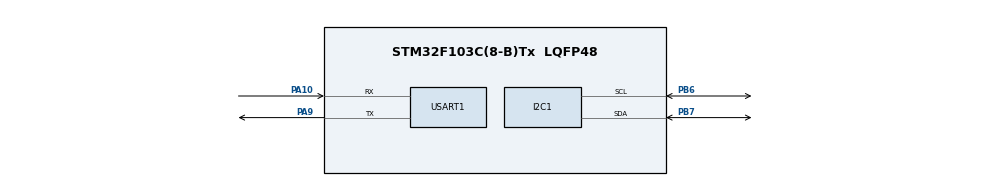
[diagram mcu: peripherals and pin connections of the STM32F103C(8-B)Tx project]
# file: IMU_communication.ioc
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Mcu.Family=STM32F1
Mcu.Name=STM32F103C(8-B)Tx
Mcu.Package=LQFP48
NVIC.PriorityGroup=NVIC_PRIORITYGROUP_4
PA10.Mode=Asynchronous
PA10.Signal=USART1_RX
PA13.Mode=Serial_Wire
PA13.Signal=SYS_JTMS-SWDIO
PA14.Mode=Serial_Wire
PA14.Signal=SYS_JTCK-SWCLK
PA9.Mode=Asynchronous
PA9.Signal=USART1_TX
PB6.Mode=I2C
PB6.Signal=I2C1_SCL
PB7.Mode=I2C
PB7.Signal=I2C1_SDA
ProjectManager.HeapSize=0x200
ProjectManager.StackSize=0x400
ProjectManager.TargetToolchain=STM32CubeIDE
RCC.APB1Freq_Value=8000000
RCC.APB2Freq_Value=8000000
USART1.VirtualMode=VM_ASYNC
board=custom

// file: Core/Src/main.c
/* USER CODE BEGIN Header */
/**
  ******************************************************************************
  * @file           : main.c
  * @brief          : Main program body
  ******************************************************************************
  * @attention
  *
  * Copyright (c) 2026 STMicroelectronics.
  * All rights reserved.
  *
  * This software is licensed under terms that can be found in the LICENSE file
  * in the root directory of this software component.
  * If no LICENSE file comes with this software, it is provided AS-IS.
  *
  ******************************************************************************
  */
/* USER CODE END Header */
#include "main.h"

/* USER CODE BEGIN Includes */
#include <stdint.h>
#include <math.h>
#include <string.h>
/* USER CODE END Includes */

/* USER CODE BEGIN PD */
#define mpu_address 0x68<<1

// Address of config registers
#define Sample_rate 25
#define Config      26
#define Gyro_config 27
#define Acc_config  28
#define Interrupt   56
#define PWR_Management 107

// Address of data registers
#define Acc_X 59
#define Acc_Y 61
#define Acc_Z 63
#define Gyro_Y 69
/* USER CODE END PD */

I2C_HandleTypeDef hi2c1;

UART_HandleTypeDef huart1;

/* USER CODE BEGIN PV */
float roll, pitch;
char buffer[50];
/* USER CODE END PV */

void SystemClock_Config(void);
static void MX_GPIO_Init(void);
static void MX_I2C1_Init(void);
static void MX_USART1_UART_Init(void);

/* USER CODE BEGIN 0 */
void i2c_write(uint8_t reg, uint8_t value)
{
	uint8_t data[2];
	data[0] = reg;
	data[1] = value;
	HAL_I2C_Master_Transmit(&hi2c1, mpu_address,data,2,10);
}

int16_t i2c_read(uint8_t reg, uint8_t byte_read)
{
	uint8_t high,low;
	int16_t data;
	HAL_I2C_Mem_Read(&hi2c1,mpu_address,reg,1,&high,byte_read,100);
	HAL_I2C_Mem_Read(&hi2c1,mpu_address,reg+1,1,&low,byte_read,100);
	data = (int16_t) (high<<8) | low;
	return data;
}

void Init_6050 (void)
{
	//sample_rate 500Hz
	i2c_write(Sample_rate,15);
	// Không s? d?ng ngu?n xung ngoài, t?t DLFP
	i2c_write(Config,0);
	//gyro FS: +- 500 o/s
	i2c_write(Gyro_config,0x08);
	// acc FS: +-8g
	i2c_write(Acc_config,0x10);
	//turn on Interrupt c?a data ready
	i2c_write(Interrupt,1);
	//choose pulse source Gyro X
	i2c_write(PWR_Management,0x01);
}

void send_char(char data)
{
	while((USART1->SR&(1<<6))==0);
	USART1->DR = data;
}
void send_string(char *str)
{
	while (*str) send_char(*str++);
}
/* USER CODE END 0 */

int main(void)
{

  /* MCU Configuration--------------------------------------------------------*/

  /* Reset of all peripherals, Initializes the Flash interface and the Systick. */
  HAL_Init();

  /* Configure the system clock */
  SystemClock_Config();

  /* Initialize all configured peripherals */
  MX_GPIO_Init();
  MX_I2C1_Init();
  MX_USART1_UART_Init();
  /* USER CODE BEGIN 2 */
  HAL_Delay(500);
  Init_6050();
  HAL_Delay(500);
  /* USER CODE END 2 */

  /* Infinite loop */
  /* USER CODE BEGIN WHILE */
  while (1)
  {
	  float Ax = (float)i2c_read(Acc_X,1)/4096.0; //(4096 là d? nh?y tuong ?ng: coi datasheet)
    float Ay = (float)i2c_read(Acc_Y,1)/4096.0; //(4096 là d? nh?y tuong ?ng: coi datasheet)
    float Az = (float)i2c_read(Acc_Z,1)/4096.0; //(4096 là d? nh?y tuong ?ng: coi datasheet)

    // Tinh toan roll, pitch
    roll = atan2(Ay,sqrt(pow(Ax,2)+pow(Az,2)))*180/3.14;
    pitch = atan2(Ax,sqrt(pow(Ay,2)+pow(Az,2)))*180/3.14; // hàm pow là hàm mu; M_PI là pi (t?t c? trong thu vi?n math.h)
    /* USER CODE END WHILE */

    /* USER CODE BEGIN 3 */
    sprintf(buffer, "Roll:%.2f;Pitch:%.2f\r\n", roll,pitch);
    send_string(buffer);
    HAL_Delay(200);

  }
  /* USER CODE END 3 */
}

void SystemClock_Config(void)
{
  RCC_OscInitTypeDef RCC_OscInitStruct = {0};
  RCC_ClkInitTypeDef RCC_ClkInitStruct = {0};

  /** Initializes the RCC Oscillators according to the specified parameters
  * in the RCC_OscInitTypeDef structure.
  */
  RCC_OscInitStruct.OscillatorType = RCC_OSCILLATORTYPE_HSI;
  RCC_OscInitStruct.HSIState = RCC_HSI_ON;
  RCC_OscInitStruct.HSICalibrationValue = RCC_HSICALIBRATION_DEFAULT;
  RCC_OscInitStruct.PLL.PLLState = RCC_PLL_NONE;
  if (HAL_RCC_OscConfig(&RCC_OscInitStruct) != HAL_OK)
  {
    Error_Handler();
  }

  /** Initializes the CPU, AHB and APB buses clocks
  */
  RCC_ClkInitStruct.ClockType = RCC_CLOCKTYPE_HCLK|RCC_CLOCKTYPE_SYSCLK
                              |RCC_CLOCKTYPE_PCLK1|RCC_CLOCKTYPE_PCLK2;
  RCC_ClkInitStruct.SYSCLKSource = RCC_SYSCLKSOURCE_HSI;
  RCC_ClkInitStruct.AHBCLKDivider = RCC_SYSCLK_DIV1;
  RCC_ClkInitStruct.APB1CLKDivider = RCC_HCLK_DIV1;
  RCC_ClkInitStruct.APB2CLKDivider = RCC_HCLK_DIV1;

  if (HAL_RCC_ClockConfig(&RCC_ClkInitStruct, FLASH_LATENCY_0) != HAL_OK)
  {
    Error_Handler();
  }
}

static void MX_I2C1_Init(void)
{

  hi2c1.Instance = I2C1;
  hi2c1.Init.ClockSpeed = 100000;
  hi2c1.Init.DutyCycle = I2C_DUTYCYCLE_2;
  hi2c1.Init.OwnAddress1 = 0;
  hi2c1.Init.AddressingMode = I2C_ADDRESSINGMODE_7BIT;
  hi2c1.Init.DualAddressMode = I2C_DUALADDRESS_DISABLE;
  hi2c1.Init.OwnAddress2 = 0;
  hi2c1.Init.GeneralCallMode = I2C_GENERALCALL_DISABLE;
  hi2c1.Init.NoStretchMode = I2C_NOSTRETCH_DISABLE;
  if (HAL_I2C_Init(&hi2c1) != HAL_OK)
  {
    Error_Handler();
  }

}

static void MX_USART1_UART_Init(void)
{

  huart1.Instance = USART1;
  huart1.Init.BaudRate = 115200;
  huart1.Init.WordLength = UART_WORDLENGTH_8B;
  huart1.Init.StopBits = UART_STOPBITS_1;
  huart1.Init.Parity = UART_PARITY_NONE;
  huart1.Init.Mode = UART_MODE_TX_RX;
  huart1.Init.HwFlowCtl = UART_HWCONTROL_NONE;
  huart1.Init.OverSampling = UART_OVERSAMPLING_16;
  if (HAL_UART_Init(&huart1) != HAL_OK)
  {
    Error_Handler();
  }

}

static void MX_GPIO_Init(void)
{

  /* GPIO Ports Clock Enable */
  __HAL_RCC_GPIOA_CLK_ENABLE();
  __HAL_RCC_GPIOB_CLK_ENABLE();

}

void Error_Handler(void)
{
  __disable_irq();
  while (1)
  {
  }
}
